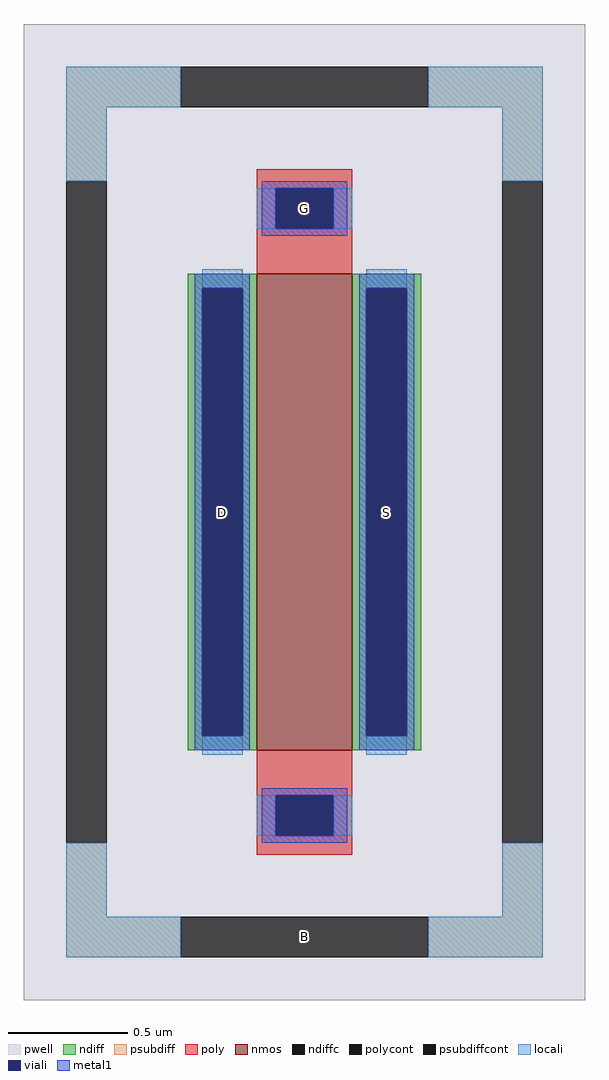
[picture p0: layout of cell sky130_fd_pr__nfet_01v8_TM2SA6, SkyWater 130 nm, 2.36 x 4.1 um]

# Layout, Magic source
magic
tech sky130A
magscale 1 2
<< pwell >>
rect -236 -410 236 410
<< nmos >>
rect -40 -200 40 200
<< ndiff >>
rect -98 188 -40 200
rect -98 -188 -86 188
rect -52 -188 -40 188
rect -98 -200 -40 -188
rect 40 188 98 200
rect 40 -188 52 188
rect 86 -188 98 188
rect 40 -200 98 -188
<< ndiffc >>
rect -86 -188 -52 188
rect 52 -188 86 188
<< psubdiff >>
rect -200 340 -104 374
rect 104 340 200 374
rect -200 278 -166 340
rect 166 278 200 340
rect -200 -340 -166 -278
rect 166 -340 200 -278
rect -200 -374 -104 -340
rect 104 -374 200 -340
<< psubdiffcont >>
rect -104 340 104 374
rect -200 -278 -166 278
rect 166 -278 200 278
rect -104 -374 104 -340
<< poly >>
rect -40 272 40 288
rect -40 238 -24 272
rect 24 238 40 272
rect -40 200 40 238
rect -40 -238 40 -200
rect -40 -272 -24 -238
rect 24 -272 40 -238
rect -40 -288 40 -272
<< polycont >>
rect -24 238 24 272
rect -24 -272 24 -238
<< locali >>
rect -200 340 -104 374
rect 104 340 200 374
rect -200 278 -166 340
rect 166 278 200 340
rect -40 238 -24 272
rect 24 238 40 272
rect -86 188 -52 204
rect -86 -204 -52 -188
rect 52 188 86 204
rect 52 -204 86 -188
rect -40 -272 -24 -238
rect 24 -272 40 -238
rect -200 -340 -166 -278
rect 166 -340 200 -278
rect -200 -374 -104 -340
rect 104 -374 200 -340
<< viali >>
rect -24 238 24 272
rect -86 -188 -52 188
rect 52 -188 86 188
rect -24 -272 24 -238
<< metal1 >>
rect -36 272 36 278
rect -36 238 -24 272
rect 24 238 36 272
rect -36 232 36 238
rect -92 188 -46 200
rect -92 -188 -86 188
rect -52 -188 -46 188
rect -92 -200 -46 -188
rect 46 188 92 200
rect 46 -188 52 188
rect 86 -188 92 188
rect 46 -200 92 -188
rect -36 -238 36 -232
rect -36 -272 -24 -238
rect 24 -272 36 -238
rect -36 -278 36 -272
<< labels >>
rlabel psubdiffcont 0 -357 0 -357 0 B
port 13 nsew
rlabel ndiffc -69 0 -69 0 0 D
port 14 nsew
rlabel ndiffc 69 0 69 0 0 S
port 15 nsew
rlabel polycont 0 255 0 255 0 G
port 16 nsew
<< properties >>
string FIXED_BBOX -183 -357 183 357
string gencell sky130_fd_pr__nfet_01v8
string library sky130
string parameters w 2.0 l 0.4 m 1 nf 1 diffcov 100 polycov 100 guard 1 glc 1 grc 1 gtc 1 gbc 1 tbcov 100 rlcov 100 topc 1 botc 1 poverlap 0 doverlap 1 lmin 0.15 wmin 0.42 class mosfet compatible {sky130_fd_pr__nfet_01v8 sky130_fd_pr__nfet_01v8_lvt  sky130_fd_bs_flash__special_sonosfet_star  sky130_fd_pr__nfet_g5v0d10v5 sky130_fd_pr__nfet_05v0_nvt  sky130_fd_pr__nfet_03v3_nvt} full_metal 1 conn_gates 0 viasrc 100 viadrn 100 viagate 100 viagb 0 viagr 0 viagl 0 viagt 0 doports 1 ad 0.58 as 0.58 pd 4.58 ps 4.58 nrd 0.145 nrs 0.145 sa 0 sb 0 sd 0 mult 1
<< end >>
